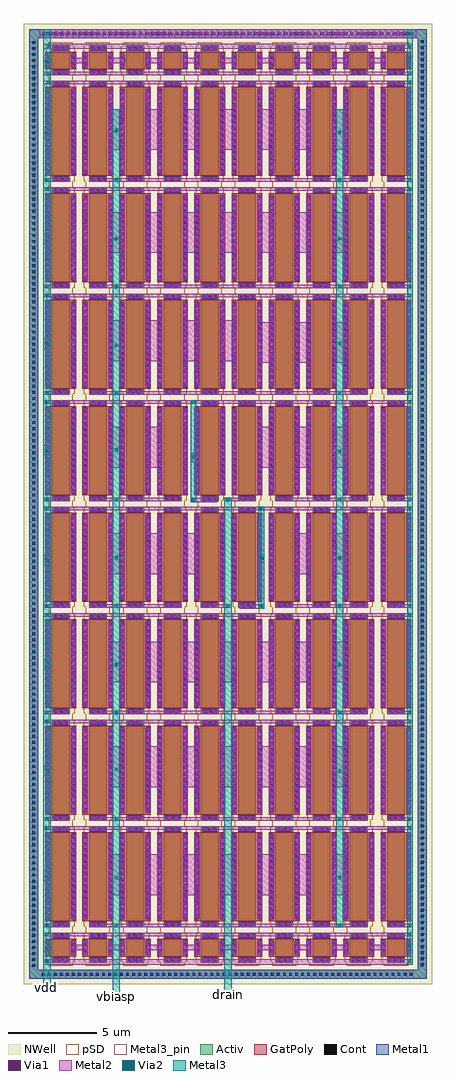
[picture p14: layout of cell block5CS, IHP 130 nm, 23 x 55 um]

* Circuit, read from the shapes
.subckt block5CS drain vbiasp vdd
XM1 vdd vdd vdd vdd sg13_lv_pmos w=1u l=1u m=20
XM2 vdd vdd vdd vdd sg13_lv_pmos w=1u l=5u m=18
XM3 vdd vbiasp vbiasp vdd sg13_lv_pmos w=1u l=5u m=60
XM4 vdd vbiasp drain vdd sg13_lv_pmos w=1u l=5u m=2
.ends

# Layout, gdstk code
from math import pi, radians
import gdstk
lib = gdstk.Library(unit=1e-6, precision=1e-09)
def R(c, l, rs):  # rectangles x0, y0, x1, y1
    for r in rs: c.add(gdstk.rectangle(r[:2], r[2:], *l))
def A(c, l, x, y, w, h, nx, ny, dx, dy):  # array of equal rectangles
    R(c, l, [(x+i*dx, y+j*dy, x+i*dx+w, y+j*dy+h) for i in range(nx) for j in range(ny)])
Activ = (1, 0)
GatPoly = (5, 0)
Cont = (6, 0)
Metal1 = (8, 0)
Metal2 = (10, 0)
pSD = (14, 0)
Via1 = (19, 0)
Via2 = (29, 0)
Metal3 = (30, 0)
Metal3_pin = (30, 2)
NWell = (31, 0)

sg13_lv_pmos_n7z9bp = lib.new_cell('sg13_lv_pmos_N7Z9BP')
R(sg13_lv_pmos_n7z9bp, Activ, [(-2.84,-0.5,2.84,0.5)])
R(sg13_lv_pmos_n7z9bp, GatPoly, [(-2.5,-0.87,2.5,0.87)])
A(sg13_lv_pmos_n7z9bp, Cont, -2.29, -0.8, 0.16, 0.16, 14, 2, 0.34, 1.44)
A(sg13_lv_pmos_n7z9bp, Cont, -2.77, -0.42, 0.16, 0.16, 1, 3, 0, 0.34)
A(sg13_lv_pmos_n7z9bp, Cont, 2.61, -0.42, 0.16, 0.16, 1, 3, 0, 0.34)
R(sg13_lv_pmos_n7z9bp, Metal1, [(-2.44,-0.825,2.44,-0.615), (-2.84,-0.43,-2.54,0.43), (2.54,-0.43,2.84,0.43), (-2.44,0.615,2.44,0.825)])
R(sg13_lv_pmos_n7z9bp, Metal2, [(-2.39,-0.865,2.39,-0.575), (-2.79,-0.47,-2.59,0.47), (2.59,-0.47,2.79,0.47), (-2.39,0.575,2.39,0.865)])
R(sg13_lv_pmos_n7z9bp, pSD, [(-2.8,-0.8,2.8,-0.68), (-3.02,-0.68,3.02,0.68), (-2.8,0.68,2.8,0.8)])
A(sg13_lv_pmos_n7z9bp, Via1, -2.35, -0.815, 0.19, 0.19, 12, 2, 0.41, 1.44)
R(sg13_lv_pmos_n7z9bp, Via1, [(-2.785,-0.3,-2.595,-0.11), (2.595,-0.3,2.785,-0.11), (-2.785,0.11,-2.595,0.3), (2.595,0.11,2.785,0.3)])
R(sg13_lv_pmos_n7z9bp, NWell, [(-3.15,-0.81,3.15,0.81)])
sg13_lv_pmos_n7z9bp.add(gdstk.Label('D', (-2.69,0), layer=8, texttype=25))
sg13_lv_pmos_n7z9bp.add(gdstk.Label('S', (2.69,0), layer=8, texttype=25))
sg13_lv_pmos_n7z9bp.add(gdstk.Label('G', (0,0.72), layer=8, texttype=25))

sg13_lv_pmos_n7z9pp = lib.new_cell('sg13_lv_pmos_N7Z9PP')
R(sg13_lv_pmos_n7z9pp, Activ, [(-0.84,-0.5,0.84,0.5)])
R(sg13_lv_pmos_n7z9pp, GatPoly, [(-0.5,-0.87,0.5,0.87)])
A(sg13_lv_pmos_n7z9pp, Cont, -0.77, -0.42, 0.16, 0.16, 1, 3, 0, 0.34)
A(sg13_lv_pmos_n7z9pp, Cont, 0.61, -0.42, 0.16, 0.16, 1, 3, 0, 0.34)
R(sg13_lv_pmos_n7z9pp, Cont, [(-0.25,-0.8,-0.09,-0.64), (0.09,-0.8,0.25,-0.64), (-0.25,0.64,-0.09,0.8), (0.09,0.64,0.25,0.8)])
R(sg13_lv_pmos_n7z9pp, Metal1, [(-0.44,-0.825,0.44,-0.615), (-0.84,-0.43,-0.54,0.43), (0.54,-0.43,0.84,0.43), (-0.44,0.615,0.44,0.825)])
R(sg13_lv_pmos_n7z9pp, Metal2, [(-0.39,-0.865,0.39,-0.575), (-0.79,-0.47,-0.59,0.47), (0.59,-0.47,0.79,0.47), (-0.39,0.575,0.39,0.865)])
R(sg13_lv_pmos_n7z9pp, pSD, [(-0.8,-0.8,0.8,-0.68), (-1.02,-0.68,1.02,0.68), (-0.8,0.68,0.8,0.8)])
R(sg13_lv_pmos_n7z9pp, Via1, [(-0.3,-0.815,-0.11,-0.625), (0.11,-0.815,0.3,-0.625), (-0.785,-0.3,-0.595,-0.11), (0.595,-0.3,0.785,-0.11), (-0.785,0.11,-0.595,0.3), (0.595,0.11,0.785,0.3), (-0.3,0.625,-0.11,0.815), (0.11,0.625,0.3,0.815)])
R(sg13_lv_pmos_n7z9pp, NWell, [(-1.15,-0.81,1.15,0.81)])
sg13_lv_pmos_n7z9pp.add(gdstk.Label('D', (-0.69,0), layer=8, texttype=25))
sg13_lv_pmos_n7z9pp.add(gdstk.Label('S', (0.69,0), layer=8, texttype=25))
sg13_lv_pmos_n7z9pp.add(gdstk.Label('G', (0,0.72), layer=8, texttype=25))

block5cs = lib.new_cell('block5CS')
R(block5cs, Activ, [(-0.9,-50.6,21.5,-50.1), (-0.9,-50.1,-0.4,2.4), (21,-50.1,21.5,2.4), (-0.9,2.4,21.5,2.9)])
A(block5cs, Cont, -0.2, -50.43, 0.16, 0.16, 62, 1, 0.34, 0)
A(block5cs, Cont, -0.73, -49.94, 0.16, 0.16, 1, 154, 0, 0.34)
A(block5cs, Cont, 21.17, -49.89, 0.16, 0.16, 1, 154, 0, 0.34)
A(block5cs, Cont, -0.15, 2.57, 0.16, 0.16, 62, 1, 0.34, 0)
R(block5cs, Metal1, [(-0.9,-50.6,21.5,-50.1), (-0.9,-50.1,-0.4,2.4), (21,-50.1,21.5,2.4), (-0.9,2.4,21.5,2.9)])
A(block5cs, Metal2, 1.5, -49, 0.8, 0.3, 9, 1, 2.1, 0)
A(block5cs, Metal2, -0.1, -48.2, 20.8, 0.2, 1, 9, 0, 6)
A(block5cs, Metal2, -0.1, -47.7, 1.4, 0.2, 1, 3, 0, 6)
A(block5cs, Metal2, 2.5, -47.7, 15.6, 0.2, 1, 3, 0, 6)
A(block5cs, Metal2, 19.3, -47.7, 1.4, 0.2, 1, 8, 0, 6)
A(block5cs, Metal2, 3.6, -45.9, 0.8, 2.3, 7, 2, 2.1, 6.1)
A(block5cs, Metal2, 3.6, -33.9, 0.8, 2.3, 7, 2, 2.1, 24.2)
A(block5cs, Metal2, 3.6, -27.8, 0.8, 2.3, 3, 1, 2.1, 0)
A(block5cs, Metal2, -0.1, -23.7, 1.4, 0.2, 1, 3, 0, 6)
A(block5cs, Metal2, 12, -21.8, 0.8, 2.3, 3, 2, 2.1, 5.9)
A(block5cs, Metal2, 2.5, -17.7, 15.6, 0.2, 1, 3, 0, 6)
A(block5cs, Metal2, 3.6, -15.8, 0.8, 2.3, 4, 1, 2.1, 0)
A(block5cs, Metal2, 5.8, -3.9, 0.7, 2.3, 5, 1, 2.1, 0)
A(block5cs, Metal2, 1.5, 1, 0.9, 0.3, 9, 1, 2.1, 0)
R(block5cs, Metal2, [(-0.1,-49.8,20.7,-49.5), (-0.1,-49.1,0.2,-48.5), (20.4,-48.9,20.6,-48.7), (-0.1,-45.1,0.2,-44.5), (20.4,-44.9,20.6,-44.7), (-0.1,-39.2,0.2,-38.6), (20.4,-38.9,20.6,-38.7), (-0.1,-33.2,0.2,-32.6), (20.4,-32.8,20.6,-32.6), (10.95,-29.75,12.35,-29.5), (-0.1,-29.7,1.4,-29.5), (2.5,-29.7,7.7,-29.5), (8.8,-29.7,10.5,-29.5), (13,-29.7,18.2,-29.5), (14.1,-27.8,14.9,-25.5), (16.2,-27.8,17,-25.5), (-0.1,-27.3,0.2,-26.7), (12.1,-27.15,12.35,-26.7), (20.4,-27,20.6,-26.8), (8.2,-23.75,9.7,-23.5), (2.5,-23.7,7.7,-23.5), (10.1,-23.7,11.8,-23.5), (13,-23.7,18.2,-23.5), (3.6,-21.8,4.4,-19.5), (5.7,-21.8,6.5,-19.5), (8.25,-21.5,8.5,-20.95), (-0.1,-21.1,0.2,-20.5), (20.4,-21,20.6,-20.8), (-0.1,-15.1,0.2,-14.5), (20.4,-14.9,20.6,-14.7), (-0.1,-9.2,0.2,-8.6), (20.4,-8.9,20.6,-8.7), (-0.1,-5.7,1.4,-5.5), (3.7,-3.9,4.3,-1.6), (16.2,-3.9,17,-1.6), (-0.1,-3.2,0.2,-2.6), (20.4,-3,20.6,-2.8), (-0.1,0.3,20.7,0.5), (-0.1,0.8,0.2,1), (-0.1,1,0.3,1.2), (20.4,1.1,20.6,1.3), (-0.1,1.2,0.2,1.4), (-0.1,1.8,20.7,2.1), (-0.3,2.4,20.9,2.9)])
A(block5cs, Via1, -0.045, 2.555, 0.19, 0.19, 51, 1, 0.41, 0)
A(block5cs, Via2, 3.905, -23.695, 0.19, 0.19, 3, 1, 6.3, 0)
R(block5cs, Via2, [(0.005,-49.695,0.195,-49.505), (20.405,-49.695,20.595,-49.505), (0.005,-48.895,0.195,-48.705), (20.405,-48.895,20.595,-48.705), (0.005,-48.195,0.195,-48.005), (20.405,-48.195,20.595,-48.005), (0.005,-47.695,0.195,-47.505), (3.905,-47.695,4.095,-47.505), (16.505,-47.695,16.695,-47.505), (20.405,-47.695,20.595,-47.505), (3.905,-44.995,4.095,-44.805), (16.505,-44.995,16.695,-44.805), (0.005,-44.895,0.195,-44.705), (20.405,-44.895,20.595,-44.705), (0.005,-42.195,0.195,-42.005), (20.405,-42.195,20.595,-42.005), (0.005,-41.695,0.195,-41.505), (3.905,-41.695,4.095,-41.505), (16.505,-41.695,16.695,-41.505), (20.405,-41.695,20.595,-41.505), (0.005,-38.995,0.195,-38.805), (16.505,-38.995,16.695,-38.805), (3.905,-38.895,4.095,-38.705), (20.405,-38.895,20.595,-38.705), (0.005,-36.195,0.195,-36.005), (20.405,-36.195,20.595,-36.005), (0.005,-35.695,0.195,-35.505), (3.905,-35.695,4.095,-35.505), (16.505,-35.695,16.695,-35.505), (20.405,-35.695,20.595,-35.505), (0.005,-32.995,0.195,-32.805), (3.905,-32.995,4.095,-32.805), (16.505,-32.995,16.695,-32.805), (20.405,-32.795,20.595,-32.605), (0.005,-30.195,0.195,-30.005), (20.405,-30.195,20.595,-30.005), (0.005,-29.695,0.195,-29.505), (3.905,-29.695,4.095,-29.505), (10.205,-29.695,10.395,-29.505), (12.055,-29.695,12.245,-29.505), (16.505,-29.695,16.695,-29.505), (20.405,-29.695,20.595,-29.505), (0.005,-27.095,0.195,-26.905), (3.905,-26.995,4.095,-26.805), (12.105,-26.995,12.295,-26.805), (16.505,-26.995,16.695,-26.805), (20.405,-26.995,20.595,-26.805), (0.005,-24.195,0.195,-24.005), (12.055,-24.195,12.245,-24.005), (20.405,-24.195,20.595,-24.005), (8.255,-23.745,8.445,-23.555), (0.005,-23.695,0.195,-23.505), (20.405,-23.695,20.595,-23.505), (8.305,-21.295,8.495,-21.105), (16.505,-20.995,16.695,-20.805), (20.405,-20.995,20.595,-20.805), (0.005,-20.895,0.195,-20.705), (3.905,-20.895,4.095,-20.705), (0.005,-18.195,0.195,-18.005), (8.255,-18.195,8.445,-18.005), (20.405,-18.195,20.595,-18.005), (0.005,-17.695,0.195,-17.505), (3.905,-17.695,4.095,-17.505), (16.505,-17.695,16.695,-17.505), (20.405,-17.695,20.595,-17.505), (3.905,-14.995,4.095,-14.805), (0.005,-14.895,0.195,-14.705), (16.505,-14.895,16.695,-14.705), (20.405,-14.895,20.595,-14.705), (0.005,-12.195,0.195,-12.005), (20.405,-12.195,20.595,-12.005), (0.005,-11.695,0.195,-11.505), (3.905,-11.695,4.095,-11.505), (16.505,-11.695,16.695,-11.505), (20.405,-11.695,20.595,-11.505), (0.005,-8.995,0.195,-8.805), (3.905,-8.995,4.095,-8.805), (16.505,-8.995,16.695,-8.805), (20.405,-8.895,20.595,-8.705), (0.005,-6.195,0.195,-6.005), (20.405,-6.195,20.595,-6.005), (0.005,-5.695,0.195,-5.505), (3.905,-5.695,4.095,-5.505), (16.505,-5.695,16.695,-5.505), (20.405,-5.695,20.595,-5.505), (0.005,-2.995,0.195,-2.805), (16.505,-2.995,16.695,-2.805), (20.405,-2.995,20.595,-2.805), (3.905,-2.895,4.095,-2.705), (0.105,-0.195,0.295,-0.005), (20.405,-0.195,20.595,-0.005), (0.105,0.305,0.295,0.495), (20.405,0.305,20.595,0.495), (0.005,1.005,0.195,1.195), (20.405,1.105,20.595,1.295), (0.105,1.805,0.295,1.995), (20.405,1.805,20.595,1.995), (0.005,2.555,0.195,2.745), (20.455,2.555,20.645,2.745)])
R(block5cs, Metal3, [(3.8,-51.8,4.2,-1.6), (10.1,-51.7,10.5,-23.5), (-0.1,-51.3,0.3,2.9), (20.4,-49.8,20.7,2.9), (16.4,-47.7,16.8,-1.6), (12,-29.75,12.35,-24), (8.2,-23.75,8.5,-18)])
R(block5cs, Metal3_pin, [(3.8,-51.8,4.2,-51.4), (10.1,-51.7,10.5,-51.3), (-0.1,-51.3,0.3,-50.9)])
R(block5cs, NWell, [(-1.2,-50.9,21.8,3.2)])
block5cs.add(gdstk.Reference(sg13_lv_pmos_n7z9bp, (0.87,-44.85), rotation=3*pi/2))
block5cs.add(gdstk.Reference(sg13_lv_pmos_n7z9pp, (0.87,-48.85), rotation=3*pi/2))
block5cs.add(gdstk.Reference(sg13_lv_pmos_n7z9bp, (2.97,-44.85), rotation=3*pi/2))
block5cs.add(gdstk.Reference(sg13_lv_pmos_n7z9pp, (2.97,-48.85), rotation=3*pi/2))
block5cs.add(gdstk.Reference(sg13_lv_pmos_n7z9bp, (5.07,-44.85), rotation=3*pi/2))
block5cs.add(gdstk.Reference(sg13_lv_pmos_n7z9pp, (5.07,-48.85), rotation=3*pi/2))
block5cs.add(gdstk.Reference(sg13_lv_pmos_n7z9bp, (7.17,-44.85), rotation=3*pi/2))
block5cs.add(gdstk.Reference(sg13_lv_pmos_n7z9pp, (7.17,-48.85), rotation=3*pi/2))
block5cs.add(gdstk.Reference(sg13_lv_pmos_n7z9bp, (9.27,-44.85), rotation=3*pi/2))
block5cs.add(gdstk.Reference(sg13_lv_pmos_n7z9pp, (9.27,-48.85), rotation=3*pi/2))
block5cs.add(gdstk.Reference(sg13_lv_pmos_n7z9bp, (11.37,-44.85), rotation=3*pi/2))
block5cs.add(gdstk.Reference(sg13_lv_pmos_n7z9pp, (11.37,-48.85), rotation=3*pi/2))
block5cs.add(gdstk.Reference(sg13_lv_pmos_n7z9bp, (13.47,-44.85), rotation=3*pi/2))
block5cs.add(gdstk.Reference(sg13_lv_pmos_n7z9pp, (13.47,-48.85), rotation=3*pi/2))
block5cs.add(gdstk.Reference(sg13_lv_pmos_n7z9bp, (15.57,-44.85), rotation=3*pi/2))
block5cs.add(gdstk.Reference(sg13_lv_pmos_n7z9pp, (15.57,-48.85), rotation=3*pi/2))
block5cs.add(gdstk.Reference(sg13_lv_pmos_n7z9bp, (17.67,-44.85), rotation=3*pi/2))
block5cs.add(gdstk.Reference(sg13_lv_pmos_n7z9pp, (17.67,-48.85), rotation=3*pi/2))
block5cs.add(gdstk.Reference(sg13_lv_pmos_n7z9bp, (19.77,-44.85), rotation=3*pi/2))
block5cs.add(gdstk.Reference(sg13_lv_pmos_n7z9pp, (19.77,-48.85), rotation=3*pi/2))
block5cs.add(gdstk.Reference(sg13_lv_pmos_n7z9bp, (0.87,-38.85), rotation=3*pi/2))
block5cs.add(gdstk.Reference(sg13_lv_pmos_n7z9bp, (2.97,-38.85), rotation=3*pi/2))
block5cs.add(gdstk.Reference(sg13_lv_pmos_n7z9bp, (5.07,-38.85), rotation=3*pi/2))
block5cs.add(gdstk.Reference(sg13_lv_pmos_n7z9bp, (7.17,-38.85), rotation=3*pi/2))
block5cs.add(gdstk.Reference(sg13_lv_pmos_n7z9bp, (9.27,-38.85), rotation=3*pi/2))
block5cs.add(gdstk.Reference(sg13_lv_pmos_n7z9bp, (11.37,-38.85), rotation=3*pi/2))
block5cs.add(gdstk.Reference(sg13_lv_pmos_n7z9bp, (13.47,-38.85), rotation=3*pi/2))
block5cs.add(gdstk.Reference(sg13_lv_pmos_n7z9bp, (15.57,-38.85), rotation=3*pi/2))
block5cs.add(gdstk.Reference(sg13_lv_pmos_n7z9bp, (17.67,-38.85), rotation=3*pi/2))
block5cs.add(gdstk.Reference(sg13_lv_pmos_n7z9bp, (19.77,-38.85), rotation=3*pi/2))
block5cs.add(gdstk.Reference(sg13_lv_pmos_n7z9bp, (0.87,-32.85), rotation=3*pi/2))
block5cs.add(gdstk.Reference(sg13_lv_pmos_n7z9bp, (2.97,-32.85), rotation=3*pi/2))
block5cs.add(gdstk.Reference(sg13_lv_pmos_n7z9bp, (5.07,-32.85), rotation=3*pi/2))
block5cs.add(gdstk.Reference(sg13_lv_pmos_n7z9bp, (7.17,-32.85), rotation=3*pi/2))
block5cs.add(gdstk.Reference(sg13_lv_pmos_n7z9bp, (9.27,-32.85), rotation=3*pi/2))
block5cs.add(gdstk.Reference(sg13_lv_pmos_n7z9bp, (11.37,-32.85), rotation=3*pi/2))
block5cs.add(gdstk.Reference(sg13_lv_pmos_n7z9bp, (13.47,-32.85), rotation=3*pi/2))
block5cs.add(gdstk.Reference(sg13_lv_pmos_n7z9bp, (15.57,-32.85), rotation=3*pi/2))
block5cs.add(gdstk.Reference(sg13_lv_pmos_n7z9bp, (17.67,-32.85), rotation=3*pi/2))
block5cs.add(gdstk.Reference(sg13_lv_pmos_n7z9bp, (19.77,-32.85), rotation=3*pi/2))
block5cs.add(gdstk.Reference(sg13_lv_pmos_n7z9bp, (0.87,-26.85), rotation=3*pi/2))
block5cs.add(gdstk.Reference(sg13_lv_pmos_n7z9bp, (2.97,-26.85), rotation=3*pi/2))
block5cs.add(gdstk.Reference(sg13_lv_pmos_n7z9bp, (5.07,-26.85), rotation=3*pi/2))
block5cs.add(gdstk.Reference(sg13_lv_pmos_n7z9bp, (7.17,-26.85), rotation=3*pi/2))
block5cs.add(gdstk.Reference(sg13_lv_pmos_n7z9bp, (9.27,-26.85), rotation=3*pi/2))
block5cs.add(gdstk.Reference(sg13_lv_pmos_n7z9bp, (11.37,-26.85), rotation=3*pi/2))
block5cs.add(gdstk.Reference(sg13_lv_pmos_n7z9bp, (13.47,-26.85), rotation=3*pi/2))
block5cs.add(gdstk.Reference(sg13_lv_pmos_n7z9bp, (15.57,-26.85), rotation=3*pi/2))
block5cs.add(gdstk.Reference(sg13_lv_pmos_n7z9bp, (17.67,-26.85), rotation=3*pi/2))
block5cs.add(gdstk.Reference(sg13_lv_pmos_n7z9bp, (19.77,-26.85), rotation=3*pi/2))
block5cs.add(gdstk.Reference(sg13_lv_pmos_n7z9bp, (0.87,-20.85), rotation=3*pi/2))
block5cs.add(gdstk.Reference(sg13_lv_pmos_n7z9bp, (2.97,-20.85), rotation=3*pi/2))
block5cs.add(gdstk.Reference(sg13_lv_pmos_n7z9bp, (5.07,-20.85), rotation=3*pi/2))
block5cs.add(gdstk.Reference(sg13_lv_pmos_n7z9bp, (7.17,-20.85), rotation=3*pi/2))
block5cs.add(gdstk.Reference(sg13_lv_pmos_n7z9bp, (9.27,-20.85), rotation=3*pi/2))
block5cs.add(gdstk.Reference(sg13_lv_pmos_n7z9bp, (11.37,-20.85), rotation=3*pi/2))
block5cs.add(gdstk.Reference(sg13_lv_pmos_n7z9bp, (13.47,-20.85), rotation=3*pi/2))
block5cs.add(gdstk.Reference(sg13_lv_pmos_n7z9bp, (15.57,-20.85), rotation=3*pi/2))
block5cs.add(gdstk.Reference(sg13_lv_pmos_n7z9bp, (17.67,-20.85), rotation=3*pi/2))
block5cs.add(gdstk.Reference(sg13_lv_pmos_n7z9bp, (19.77,-20.85), rotation=3*pi/2))
block5cs.add(gdstk.Reference(sg13_lv_pmos_n7z9bp, (0.87,-14.85), rotation=3*pi/2))
block5cs.add(gdstk.Reference(sg13_lv_pmos_n7z9bp, (2.97,-14.85), rotation=3*pi/2))
block5cs.add(gdstk.Reference(sg13_lv_pmos_n7z9bp, (5.07,-14.85), rotation=3*pi/2))
block5cs.add(gdstk.Reference(sg13_lv_pmos_n7z9bp, (7.17,-14.85), rotation=3*pi/2))
block5cs.add(gdstk.Reference(sg13_lv_pmos_n7z9bp, (9.27,-14.85), rotation=3*pi/2))
block5cs.add(gdstk.Reference(sg13_lv_pmos_n7z9bp, (11.37,-14.85), rotation=3*pi/2))
block5cs.add(gdstk.Reference(sg13_lv_pmos_n7z9bp, (13.47,-14.85), rotation=3*pi/2))
block5cs.add(gdstk.Reference(sg13_lv_pmos_n7z9bp, (15.57,-14.85), rotation=3*pi/2))
block5cs.add(gdstk.Reference(sg13_lv_pmos_n7z9bp, (17.67,-14.85), rotation=3*pi/2))
block5cs.add(gdstk.Reference(sg13_lv_pmos_n7z9bp, (19.77,-14.85), rotation=3*pi/2))
block5cs.add(gdstk.Reference(sg13_lv_pmos_n7z9bp, (0.87,-2.85), rotation=3*pi/2))
block5cs.add(gdstk.Reference(sg13_lv_pmos_n7z9bp, (0.87,-8.85), rotation=3*pi/2))
block5cs.add(gdstk.Reference(sg13_lv_pmos_n7z9bp, (2.97,-2.85), rotation=3*pi/2))
block5cs.add(gdstk.Reference(sg13_lv_pmos_n7z9bp, (2.97,-8.85), rotation=3*pi/2))
block5cs.add(gdstk.Reference(sg13_lv_pmos_n7z9bp, (5.07,-2.85), rotation=3*pi/2))
block5cs.add(gdstk.Reference(sg13_lv_pmos_n7z9bp, (5.07,-8.85), rotation=3*pi/2))
block5cs.add(gdstk.Reference(sg13_lv_pmos_n7z9bp, (7.17,-2.85), rotation=3*pi/2))
block5cs.add(gdstk.Reference(sg13_lv_pmos_n7z9bp, (7.17,-8.85), rotation=3*pi/2))
block5cs.add(gdstk.Reference(sg13_lv_pmos_n7z9bp, (9.27,-2.85), rotation=3*pi/2))
block5cs.add(gdstk.Reference(sg13_lv_pmos_n7z9bp, (9.27,-8.85), rotation=3*pi/2))
block5cs.add(gdstk.Reference(sg13_lv_pmos_n7z9bp, (11.37,-2.85), rotation=3*pi/2))
block5cs.add(gdstk.Reference(sg13_lv_pmos_n7z9bp, (11.37,-8.85), rotation=3*pi/2))
block5cs.add(gdstk.Reference(sg13_lv_pmos_n7z9bp, (13.47,-2.85), rotation=3*pi/2))
block5cs.add(gdstk.Reference(sg13_lv_pmos_n7z9bp, (13.47,-8.85), rotation=3*pi/2))
block5cs.add(gdstk.Reference(sg13_lv_pmos_n7z9bp, (15.57,-2.85), rotation=3*pi/2))
block5cs.add(gdstk.Reference(sg13_lv_pmos_n7z9bp, (15.57,-8.85), rotation=3*pi/2))
block5cs.add(gdstk.Reference(sg13_lv_pmos_n7z9bp, (17.67,-2.85), rotation=3*pi/2))
block5cs.add(gdstk.Reference(sg13_lv_pmos_n7z9bp, (17.67,-8.85), rotation=3*pi/2))
block5cs.add(gdstk.Reference(sg13_lv_pmos_n7z9bp, (19.77,-2.85), rotation=3*pi/2))
block5cs.add(gdstk.Reference(sg13_lv_pmos_n7z9bp, (19.77,-8.85), rotation=3*pi/2))
block5cs.add(gdstk.Reference(sg13_lv_pmos_n7z9pp, (0.87,1.15), rotation=3*pi/2))
block5cs.add(gdstk.Reference(sg13_lv_pmos_n7z9pp, (2.97,1.15), rotation=3*pi/2))
block5cs.add(gdstk.Reference(sg13_lv_pmos_n7z9pp, (5.07,1.15), rotation=3*pi/2))
block5cs.add(gdstk.Reference(sg13_lv_pmos_n7z9pp, (7.17,1.15), rotation=3*pi/2))
block5cs.add(gdstk.Reference(sg13_lv_pmos_n7z9pp, (9.27,1.15), rotation=3*pi/2))
block5cs.add(gdstk.Reference(sg13_lv_pmos_n7z9pp, (11.37,1.15), rotation=3*pi/2))
block5cs.add(gdstk.Reference(sg13_lv_pmos_n7z9pp, (13.47,1.15), rotation=3*pi/2))
block5cs.add(gdstk.Reference(sg13_lv_pmos_n7z9pp, (15.57,1.15), rotation=3*pi/2))
block5cs.add(gdstk.Reference(sg13_lv_pmos_n7z9pp, (17.67,1.15), rotation=3*pi/2))
block5cs.add(gdstk.Reference(sg13_lv_pmos_n7z9pp, (19.77,1.15), rotation=3*pi/2))
block5cs.add(gdstk.Label('vbiasp', (4,-51.6), layer=30, texttype=25))
block5cs.add(gdstk.Label('drain', (10.3,-51.5), layer=30, texttype=25))
block5cs.add(gdstk.Label('vdd', (0.1,-51.1), layer=30, texttype=25))

lib.write_gds('block5CS.gds')
